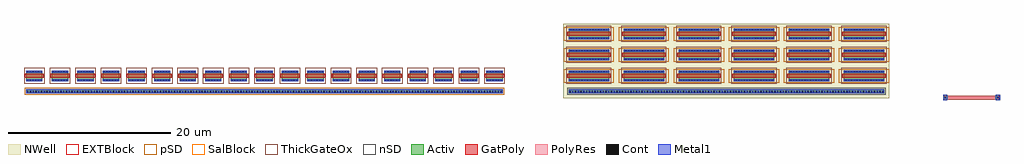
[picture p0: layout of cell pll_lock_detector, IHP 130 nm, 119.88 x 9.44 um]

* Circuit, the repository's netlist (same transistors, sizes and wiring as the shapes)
* extracted by klt extract --deck sg13cmos5l

* cell pll_lock_detector
* pin lock_detector_pfet_w5_l0p5_B
* pin vsubs
.SUBCKT pll_lock_detector lock_detector_pfet_w5_l0p5_B vsubs
* device instance $1 r0 *1 1.89,3.11 nfet
X$1 \$55 \$5 \$6 vsubs sg13_hv_nmos L=0.5U W=2U AS=0.8P AD=0.8P PS=4.8U PD=4.8U
* device instance $2 r0 *1 5.03,3.11 nfet
X$2 \$56 \$7 \$8 vsubs sg13_hv_nmos L=0.5U W=2U AS=0.8P AD=0.8P PS=4.8U PD=4.8U
* device instance $3 r0 *1 8.17,3.11 nfet
X$3 \$57 \$9 \$10 vsubs sg13_hv_nmos L=0.5U W=2U AS=0.8P AD=0.8P PS=4.8U PD=4.8U
* device instance $4 r0 *1 11.31,3.11 nfet
X$4 \$58 \$11 \$12 vsubs sg13_hv_nmos L=0.5U W=2U AS=0.8P AD=0.8P PS=4.8U
+ PD=4.8U
* device instance $5 r0 *1 14.45,3.11 nfet
X$5 \$59 \$13 \$14 vsubs sg13_hv_nmos L=0.5U W=2U AS=0.8P AD=0.8P PS=4.8U
+ PD=4.8U
* device instance $6 r0 *1 17.59,3.11 nfet
X$6 \$60 \$15 \$16 vsubs sg13_hv_nmos L=0.5U W=2U AS=0.8P AD=0.8P PS=4.8U
+ PD=4.8U
* device instance $7 r0 *1 20.73,3.11 nfet
X$7 \$61 \$17 \$18 vsubs sg13_hv_nmos L=0.5U W=2U AS=0.8P AD=0.8P PS=4.8U
+ PD=4.8U
* device instance $8 r0 *1 23.87,3.11 nfet
X$8 \$62 \$19 \$20 vsubs sg13_hv_nmos L=0.5U W=2U AS=0.8P AD=0.8P PS=4.8U
+ PD=4.8U
* device instance $9 r0 *1 27.01,3.11 nfet
X$9 \$63 \$21 \$22 vsubs sg13_hv_nmos L=0.5U W=2U AS=0.8P AD=0.8P PS=4.8U
+ PD=4.8U
* device instance $10 r0 *1 30.15,3.11 nfet
X$10 \$64 \$23 \$24 vsubs sg13_hv_nmos L=0.5U W=2U AS=0.8P AD=0.8P PS=4.8U
+ PD=4.8U
* device instance $11 r0 *1 33.29,3.11 nfet
X$11 \$65 \$25 \$26 vsubs sg13_hv_nmos L=0.5U W=2U AS=0.8P AD=0.8P PS=4.8U
+ PD=4.8U
* device instance $12 r0 *1 36.43,3.11 nfet
X$12 \$66 \$27 \$28 vsubs sg13_hv_nmos L=0.5U W=2U AS=0.8P AD=0.8P PS=4.8U
+ PD=4.8U
* device instance $13 r0 *1 39.57,3.11 nfet
X$13 \$67 \$29 \$30 vsubs sg13_hv_nmos L=0.5U W=2U AS=0.8P AD=0.8P PS=4.8U
+ PD=4.8U
* device instance $14 r0 *1 42.71,3.11 nfet
X$14 \$68 \$31 \$32 vsubs sg13_hv_nmos L=0.5U W=2U AS=0.8P AD=0.8P PS=4.8U
+ PD=4.8U
* device instance $15 r0 *1 45.85,3.11 nfet
X$15 \$69 \$33 \$34 vsubs sg13_hv_nmos L=0.5U W=2U AS=0.8P AD=0.8P PS=4.8U
+ PD=4.8U
* device instance $16 r0 *1 48.99,3.11 nfet
X$16 \$70 \$35 \$36 vsubs sg13_hv_nmos L=0.5U W=2U AS=0.8P AD=0.8P PS=4.8U
+ PD=4.8U
* device instance $17 r0 *1 52.13,3.11 nfet
X$17 \$71 \$37 \$38 vsubs sg13_hv_nmos L=0.5U W=2U AS=0.8P AD=0.8P PS=4.8U
+ PD=4.8U
* device instance $18 r0 *1 55.27,3.11 nfet
X$18 \$72 \$39 \$40 vsubs sg13_hv_nmos L=0.5U W=2U AS=0.8P AD=0.8P PS=4.8U
+ PD=4.8U
* device instance $19 r0 *1 58.41,3.11 nfet
X$19 \$73 \$41 \$42 vsubs sg13_hv_nmos L=0.5U W=2U AS=0.8P AD=0.8P PS=4.8U
+ PD=4.8U
* device instance $20 r0 *1 70,3.11 pfet
X$20 \$74 \$43 \$44 lock_detector_pfet_w5_l0p5_B sg13_hv_pmos L=0.5U W=5U AS=2P
+ AD=2P PS=10.8U PD=10.8U
* device instance $21 r0 *1 76.76,3.11 pfet
X$21 \$75 \$45 \$46 lock_detector_pfet_w5_l0p5_B sg13_hv_pmos L=0.5U W=5U AS=2P
+ AD=2P PS=10.8U PD=10.8U
* device instance $22 r0 *1 83.52,3.11 pfet
X$22 \$76 \$47 \$48 lock_detector_pfet_w5_l0p5_B sg13_hv_pmos L=0.5U W=5U AS=2P
+ AD=2P PS=10.8U PD=10.8U
* device instance $23 r0 *1 90.28,3.11 pfet
X$23 \$77 \$49 \$50 lock_detector_pfet_w5_l0p5_B sg13_hv_pmos L=0.5U W=5U AS=2P
+ AD=2P PS=10.8U PD=10.8U
* device instance $24 r0 *1 97.04,3.11 pfet
X$24 \$78 \$51 \$52 lock_detector_pfet_w5_l0p5_B sg13_hv_pmos L=0.5U W=5U AS=2P
+ AD=2P PS=10.8U PD=10.8U
* device instance $25 r0 *1 103.8,3.11 pfet
X$25 \$79 \$53 \$54 lock_detector_pfet_w5_l0p5_B sg13_hv_pmos L=0.5U W=5U AS=2P
+ AD=2P PS=10.8U PD=10.8U
* device instance $26 r0 *1 70,5.69 pfet
X$26 \$83 \$80 \$81 lock_detector_pfet_w5_l0p5_B sg13_hv_pmos L=0.5U W=5U AS=2P
+ AD=2P PS=10.8U PD=10.8U
* device instance $27 r0 *1 76.76,5.69 pfet
X$27 \$85 \$84 \$86 lock_detector_pfet_w5_l0p5_B sg13_hv_pmos L=0.5U W=5U AS=2P
+ AD=2P PS=10.8U PD=10.8U
* device instance $28 r0 *1 83.52,5.69 pfet
X$28 \$91 \$88 \$89 lock_detector_pfet_w5_l0p5_B sg13_hv_pmos L=0.5U W=5U AS=2P
+ AD=2P PS=10.8U PD=10.8U
* device instance $29 r0 *1 90.28,5.69 pfet
X$29 \$94 \$92 \$95 lock_detector_pfet_w5_l0p5_B sg13_hv_pmos L=0.5U W=5U AS=2P
+ AD=2P PS=10.8U PD=10.8U
* device instance $30 r0 *1 97.04,5.69 pfet
X$30 \$98 \$96 \$97 lock_detector_pfet_w5_l0p5_B sg13_hv_pmos L=0.5U W=5U AS=2P
+ AD=2P PS=10.8U PD=10.8U
* device instance $31 r0 *1 103.8,5.69 pfet
X$31 \$101 \$100 \$103 lock_detector_pfet_w5_l0p5_B sg13_hv_pmos L=0.5U W=5U
+ AS=2P AD=2P PS=10.8U PD=10.8U
* device instance $32 r0 *1 70,8.27 pfet
X$32 \$105 \$104 \$82 lock_detector_pfet_w5_l0p5_B sg13_hv_pmos L=0.5U W=5U
+ AS=2P AD=2P PS=10.8U PD=10.8U
* device instance $33 r0 *1 76.76,8.27 pfet
X$33 \$107 \$106 \$87 lock_detector_pfet_w5_l0p5_B sg13_hv_pmos L=0.5U W=5U
+ AS=2P AD=2P PS=10.8U PD=10.8U
* device instance $34 r0 *1 83.52,8.27 pfet
X$34 \$109 \$108 \$90 lock_detector_pfet_w5_l0p5_B sg13_hv_pmos L=0.5U W=5U
+ AS=2P AD=2P PS=10.8U PD=10.8U
* device instance $35 r0 *1 90.28,8.27 pfet
X$35 \$111 \$110 \$93 lock_detector_pfet_w5_l0p5_B sg13_hv_pmos L=0.5U W=5U
+ AS=2P AD=2P PS=10.8U PD=10.8U
* device instance $36 r0 *1 97.04,8.27 pfet
X$36 \$113 \$112 \$99 lock_detector_pfet_w5_l0p5_B sg13_hv_pmos L=0.5U W=5U
+ AS=2P AD=2P PS=10.8U PD=10.8U
* device instance $37 r0 *1 103.8,8.27 pfet
X$37 \$115 \$114 \$102 lock_detector_pfet_w5_l0p5_B sg13_hv_pmos L=0.5U W=5U
+ AS=2P AD=2P PS=10.8U PD=10.8U
* device instance $38 r0 *1 117,0.45 rhigh
R$38 \$1 \$2 vsubs 16320 rhigh
.ENDS pll_lock_detector

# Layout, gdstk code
import gdstk
lib = gdstk.Library(unit=1e-6, precision=1e-09)
def R(c, l, rs):  # rectangles x0, y0, x1, y1
    for r in rs: c.add(gdstk.rectangle(r[:2], r[2:], *l))
def A(c, l, x, y, w, h, nx, ny, dx, dy):  # array of equal rectangles
    R(c, l, [(x+i*dx, y+j*dy, x+i*dx+w, y+j*dy+h) for i in range(nx) for j in range(ny)])
Activ = (1, 0)
GatPoly = (5, 0)
Cont = (6, 0)
nSD = (7, 0)
Metal1 = (8, 0)
pSD = (14, 0)
SalBlock = (28, 0)
NWell = (31, 0)
ThickGateOx = (44, 0)
EXTBlock = (111, 0)
PolyRes = (128, 0)

lock_detector_nfet_w2_l0 = lib.new_cell('lock_detector_nfet_w2_l0p5')
A(lock_detector_nfet_w2_l0, Activ, 0.89, 2.46, 2, 1.3, 19, 1, 3.14, 0)
R(lock_detector_nfet_w2_l0, Activ, [(0.89,0.96,59.41,1.46)])
A(lock_detector_nfet_w2_l0, GatPoly, 0.71, 2.86, 2.36, 0.5, 19, 1, 3.14, 0)
A(lock_detector_nfet_w2_l0, Cont, 1, 1.13, 0.16, 0.16, 172, 1, 0.34, 0)
A(lock_detector_nfet_w2_l0, Cont, 0.96, 2.53, 0.16, 0.16, 6, 2, 0.34, 1)
A(lock_detector_nfet_w2_l0, Cont, 4.1, 2.53, 0.16, 0.16, 6, 2, 0.34, 1)
A(lock_detector_nfet_w2_l0, Cont, 7.24, 2.53, 0.16, 0.16, 6, 2, 0.34, 1)
A(lock_detector_nfet_w2_l0, Cont, 10.38, 2.53, 0.16, 0.16, 6, 2, 0.34, 1)
A(lock_detector_nfet_w2_l0, Cont, 13.52, 2.53, 0.16, 0.16, 6, 2, 0.34, 1)
A(lock_detector_nfet_w2_l0, Cont, 16.66, 2.53, 0.16, 0.16, 6, 2, 0.34, 1)
A(lock_detector_nfet_w2_l0, Cont, 19.8, 2.53, 0.16, 0.16, 6, 2, 0.34, 1)
A(lock_detector_nfet_w2_l0, Cont, 22.94, 2.53, 0.16, 0.16, 6, 2, 0.34, 1)
A(lock_detector_nfet_w2_l0, Cont, 26.08, 2.53, 0.16, 0.16, 6, 2, 0.34, 1)
A(lock_detector_nfet_w2_l0, Cont, 29.22, 2.53, 0.16, 0.16, 6, 2, 0.34, 1)
A(lock_detector_nfet_w2_l0, Cont, 32.36, 2.53, 0.16, 0.16, 6, 2, 0.34, 1)
A(lock_detector_nfet_w2_l0, Cont, 35.5, 2.53, 0.16, 0.16, 6, 2, 0.34, 1)
A(lock_detector_nfet_w2_l0, Cont, 38.64, 2.53, 0.16, 0.16, 6, 2, 0.34, 1)
A(lock_detector_nfet_w2_l0, Cont, 41.78, 2.53, 0.16, 0.16, 6, 2, 0.34, 1)
A(lock_detector_nfet_w2_l0, Cont, 44.92, 2.53, 0.16, 0.16, 6, 2, 0.34, 1)
A(lock_detector_nfet_w2_l0, Cont, 48.06, 2.53, 0.16, 0.16, 6, 2, 0.34, 1)
A(lock_detector_nfet_w2_l0, Cont, 51.2, 2.53, 0.16, 0.16, 6, 2, 0.34, 1)
A(lock_detector_nfet_w2_l0, Cont, 54.34, 2.53, 0.16, 0.16, 6, 2, 0.34, 1)
A(lock_detector_nfet_w2_l0, Cont, 57.48, 2.53, 0.16, 0.16, 6, 2, 0.34, 1)
A(lock_detector_nfet_w2_l0, Metal1, 0.89, 2.46, 2, 0.26, 19, 2, 3.14, 1.04)
R(lock_detector_nfet_w2_l0, Metal1, [(0.89,0.96,59.41,1.46)])
R(lock_detector_nfet_w2_l0, pSD, [(0.71,0.78,59.59,1.64)])
A(lock_detector_nfet_w2_l0, ThickGateOx, 0.62, 2.12, 2.54, 1.98, 19, 1, 3.14, 0)

lock_detector_pfet_w5_l0 = lib.new_cell('lock_detector_pfet_w5_l0p5')
A(lock_detector_pfet_w5_l0, Activ, 1.2, 2.46, 5, 1.3, 6, 3, 6.76, 2.58)
R(lock_detector_pfet_w5_l0, Activ, [(1.2,0.96,40,1.46)])
A(lock_detector_pfet_w5_l0, GatPoly, 1.02, 2.86, 5.36, 0.5, 6, 3, 6.76, 2.58)
A(lock_detector_pfet_w5_l0, Cont, 1.31, 1.13, 0.16, 0.16, 114, 1, 0.34, 0)
A(lock_detector_pfet_w5_l0, Cont, 1.41, 2.53, 0.16, 0.16, 14, 2, 0.34, 1)
A(lock_detector_pfet_w5_l0, Cont, 8.17, 2.53, 0.16, 0.16, 14, 2, 0.34, 1)
A(lock_detector_pfet_w5_l0, Cont, 14.93, 2.53, 0.16, 0.16, 14, 2, 0.34, 1)
A(lock_detector_pfet_w5_l0, Cont, 21.69, 2.53, 0.16, 0.16, 14, 2, 0.34, 1)
A(lock_detector_pfet_w5_l0, Cont, 28.45, 2.53, 0.16, 0.16, 14, 2, 0.34, 1)
A(lock_detector_pfet_w5_l0, Cont, 35.21, 2.53, 0.16, 0.16, 14, 2, 0.34, 1)
A(lock_detector_pfet_w5_l0, Cont, 1.41, 5.11, 0.16, 0.16, 14, 2, 0.34, 1)
A(lock_detector_pfet_w5_l0, Cont, 8.17, 5.11, 0.16, 0.16, 14, 2, 0.34, 1)
A(lock_detector_pfet_w5_l0, Cont, 14.93, 5.11, 0.16, 0.16, 14, 2, 0.34, 1)
A(lock_detector_pfet_w5_l0, Cont, 21.69, 5.11, 0.16, 0.16, 14, 2, 0.34, 1)
A(lock_detector_pfet_w5_l0, Cont, 28.45, 5.11, 0.16, 0.16, 14, 2, 0.34, 1)
A(lock_detector_pfet_w5_l0, Cont, 35.21, 5.11, 0.16, 0.16, 14, 2, 0.34, 1)
A(lock_detector_pfet_w5_l0, Cont, 1.41, 7.69, 0.16, 0.16, 14, 2, 0.34, 1)
A(lock_detector_pfet_w5_l0, Cont, 8.17, 7.69, 0.16, 0.16, 14, 2, 0.34, 1)
A(lock_detector_pfet_w5_l0, Cont, 14.93, 7.69, 0.16, 0.16, 14, 2, 0.34, 1)
A(lock_detector_pfet_w5_l0, Cont, 21.69, 7.69, 0.16, 0.16, 14, 2, 0.34, 1)
A(lock_detector_pfet_w5_l0, Cont, 28.45, 7.69, 0.16, 0.16, 14, 2, 0.34, 1)
A(lock_detector_pfet_w5_l0, Cont, 35.21, 7.69, 0.16, 0.16, 14, 2, 0.34, 1)
R(lock_detector_pfet_w5_l0, nSD, [(1.02,0.78,40.18,1.64)])
A(lock_detector_pfet_w5_l0, Metal1, 1.2, 2.46, 5, 0.26, 6, 2, 6.76, 1.04)
A(lock_detector_pfet_w5_l0, Metal1, 1.2, 5.04, 5, 0.26, 6, 2, 6.76, 1.04)
A(lock_detector_pfet_w5_l0, Metal1, 1.2, 7.62, 5, 0.26, 6, 2, 6.76, 1.04)
R(lock_detector_pfet_w5_l0, Metal1, [(1.2,0.96,40,1.46)])
A(lock_detector_pfet_w5_l0, pSD, 0.62, 2.28, 6.16, 1.66, 6, 3, 6.76, 2.58)
R(lock_detector_pfet_w5_l0, NWell, [(0.58,0.34,40.62,9.54)])
A(lock_detector_pfet_w5_l0, ThickGateOx, 0.93, 2.12, 5.54, 1.98, 6, 3, 6.76, 2.58)
lock_detector_pfet_w5_l0.add(gdstk.Label('lock_detector_pfet_w5_l0p5_B', (20.6,1.21), layer=8, texttype=2))
lock_detector_pfet_w5_l0.add(gdstk.Label('lock_detector_pfet_w5_l0p5_B', (20.6,4.94), layer=31, texttype=2))

lock_detector_resrhigh_w = lib.new_cell('lock_detector_resrhigh_w0p5_l6')
R(lock_detector_resrhigh_w, GatPoly, [(0.1,0.1,0.5,0.8), (6.5,0.1,6.9,0.8), (0.5,0.2,6.5,0.7)])
R(lock_detector_resrhigh_w, Cont, [(0.2,0.37,0.36,0.53), (6.64,0.37,6.8,0.53)])
R(lock_detector_resrhigh_w, nSD, [(0.5,0.2,6.5,0.7)])
R(lock_detector_resrhigh_w, Metal1, [(0,0.1,0.5,0.8), (6.5,0.1,7,0.8)])
R(lock_detector_resrhigh_w, pSD, [(0.5,0.2,6.5,0.7)])
R(lock_detector_resrhigh_w, SalBlock, [(0.5,0.2,6.5,0.7)])
R(lock_detector_resrhigh_w, EXTBlock, [(0.5,0.2,6.5,0.7)])
R(lock_detector_resrhigh_w, PolyRes, [(0.5,0.2,6.5,0.7)])

pll_lock_detector = lib.new_cell('pll_lock_detector')
pll_lock_detector.add(gdstk.Reference(lock_detector_nfet_w2_l0, (0,0)))
pll_lock_detector.add(gdstk.Reference(lock_detector_pfet_w5_l0, (66.3,0)))
pll_lock_detector.add(gdstk.Reference(lock_detector_resrhigh_w, (113.5,0)))

lib.write_gds('pll_lock_detector.gds')
